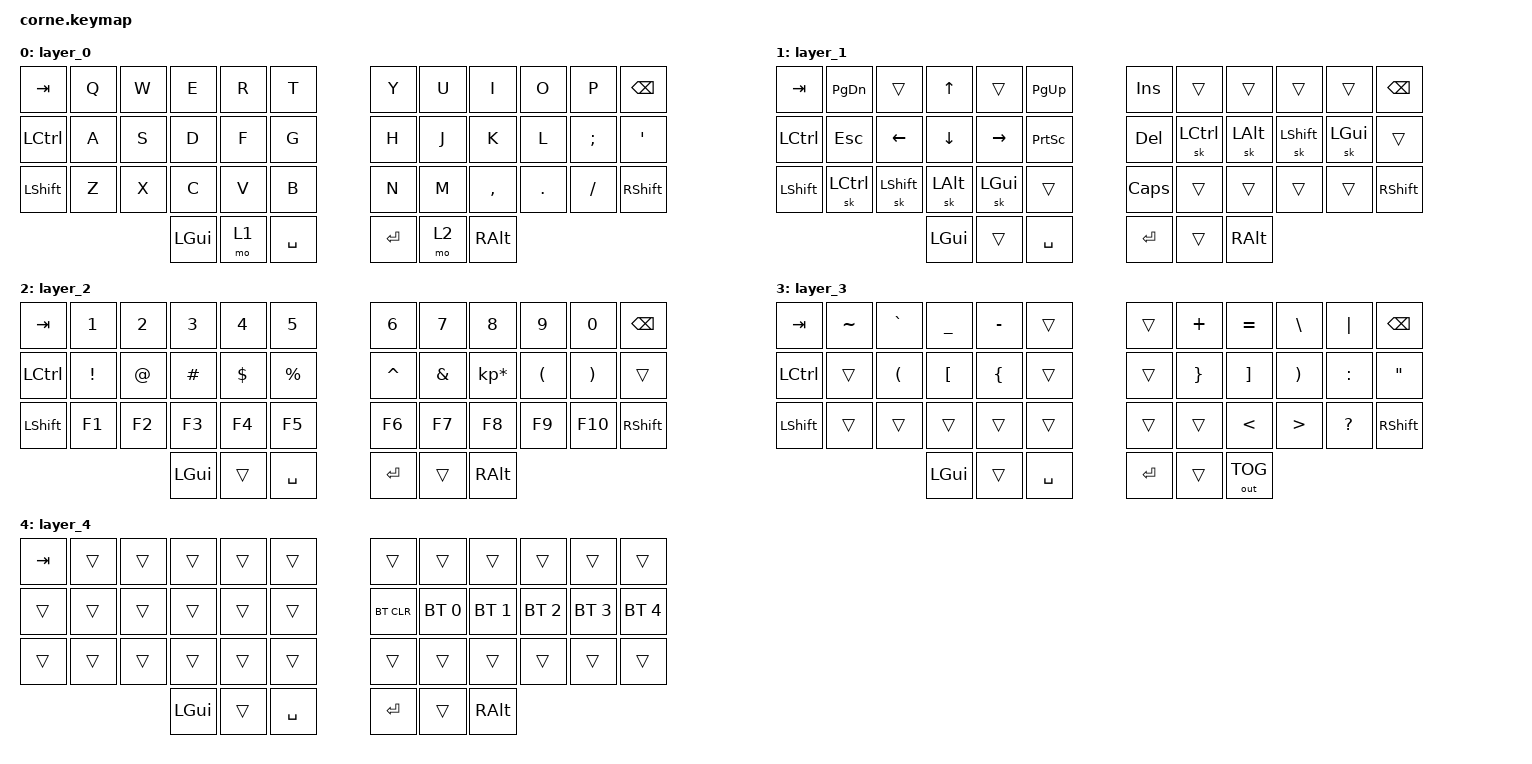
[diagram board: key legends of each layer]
/*
 * Copyright (c) 2020 The ZMK Contributors
 *
 * SPDX-License-Identifier: MIT
 */

#include <behaviors.dtsi>
#include <dt-bindings/zmk/keys.h>
#include <dt-bindings/zmk/bt.h>
#include <dt-bindings/zmk/outputs.h>

/ {

        keymap {
                compatible = "zmk,keymap";

                layer_0 {
// -----------------------------------------------------------------------------------------
// |  TAB |  Q  |  W  |  E  |  R  |  T  |   |  Y  |  U   |  I  |  O  |  P  | BKSP |
// | CTRL |  A  |  S  |  D  |  F  |  G  |   |  H  |  J   |  K  |  L  |  ;  |  '   |
// | SHFT |  Z  |  X  |  C  |  V  |  B  |   |  N  |  M   |  ,  |  .  |  /  | SHFT |
//                    | GUI | MO1 | SPC |   | ENT | MO2  | ALT |
                        bindings = <
   &kp TAB   &kp Q  &kp W  &kp E  &kp R  &kp T  &kp Y  &kp U  &kp I         &kp O        &kp P        &kp BSPC
   &kp LCTRL &kp A  &kp S  &kp D  &kp F  &kp G  &kp H  &kp J  &kp K         &kp L        &kp SEMI     &kp SQT
   &kp LSHFT &kp Z  &kp X  &kp C  &kp V  &kp B  &kp N  &kp M  &kp COMMA     &kp DOT      &kp FSLH     &kp RSHFT 
                  &kp LGUI &mo 1 &kp SPACE   &kp RET &mo 2 &kp RALT
                        >;
                };

                layer_1 {
// -----------------------------------------------------------------------------------------
// |  TAB | PGDN |     |  UP |     | PGUP |   | INS |     |     |     |     | BKSP |
// | CTRL |  ESC | LFT | DWN | RGT | SCRN |   | DEL | skC | skA | skS | skG |      |
// | SHFT |  skC | skA | skS | skG |      |   |     |     |     |     |     |      |
//                     | GUI |     | SPC  |   | ENT |     | ALT |
                        bindings = <
   &kp TAB    &kp PG_DN    &trans       &kp UP       &trans       &kp PG_UP   &kp INS     &trans     &trans   &trans     &trans     &kp BSPC
   &kp LCTRL  &kp ESC      &kp LEFT     &kp DOWN     &kp RIGHT    &kp PSCRN   &kp DEL     &sk LCTRL  &sk LALT &sk LSHIFT &sk LGUI   &trans
   &kp LSHFT  &sk LCTRL    &sk LSHIFT   &sk LALT     &sk LGUI     &trans      &kp CLCK    &trans     &trans   &trans     &trans     &kp RSHFT
                          	        &kp LGUI     &trans       &kp SPACE      &kp RET  &trans   &kp RALT
                        >;
                };

                layer_2 {
// -----------------------------------------------------------------------------------------
// |  TAB |  1  |  2  |  3  |  4  |  5  |   |  6  |  7  |  8  |  9  |  0  | BKSP |
// | CTRL |  !  |  @  |  #  |  $  |  %  |   |  ^  |  &  |  *  |  (  |  )  |      |
// | SHFT | F1  | F2  | F3  | F4  | F5  |   | F6  | F7  | F8  | F9  | F10 | SHFT |
//                    | GUI |     | SPC |   | ENT |     | ALT |
                        bindings = <
   &kp TAB    &kp N1    &kp N2    &kp N3    &kp N4    &kp N5      &kp N6       &kp N7       &kp N8          &kp N9     &kp N0      &kp BSPC
   &kp LCTRL  &kp EXCL  &kp AT    &kp HASH   &kp DLLR &kp PRCNT   &kp CARET    &kp AMPS     &kp KP_ASTERISK &kp LPAR   &kp RPAR    &trans
   &kp LSHFT  &kp F1    &kp F2    &kp F3    &kp F4    &kp F5      &kp F6       &kp F7       &kp F8          &kp F9     &kp F10     &kp RSHFT
                          	        &kp LGUI     &trans       &kp SPACE      &kp RET  &trans   &kp RALT
                        >;
                };

                layer_3 {
// -----------------------------------------------------------------------------------------
// |  TAB |  ~  |  `  |  _  |  -  |     |   |     |  +  |  =  |  \   |  |  | BKSP |
// | CTRL |     |  (  |  [  |  {  |     |   |     |  }  |  ]  |  )   |  :  |   "  |
// | SHFT |     |     |     |     |     |   |     |     |  <  |  >   |  ?  | SHFT |
//                    | GUI |     | SPC |   | ENT |     | OUT |
                        bindings = <
   &kp TAB   &kp TILDE    &kp GRAVE &kp UNDER  &kp MINUS   &trans      &trans     &kp PLUS   &kp EQUAL  &kp BSLH   &kp PIPE   &kp BSPC
   &kp LCTRL &trans       &kp LPAR  &kp LBKT   &kp LBRC    &trans      &trans     &kp RBRC   &kp RBKT   &kp RPAR   &kp COLON  &kp DQT  
   &kp LSHFT &trans       &trans    &trans     &trans      &trans      &trans     &trans     &kp LT     &kp GT     &kp QMARK  &kp RSHFT  
                           &kp LGUI &trans   &kp SPACE   &kp RET   &trans    &out OUT_TOG
                        >;
                };

               layer_4 {
// -----------------------------------------------------------------------------------------
// |      |     |     |     |     |     |   |     |      |      |      |      |      |
// |      |     |     |     |     |     |   |BTCLR| BT 0 | BT 1 | BT 2 | BT 3 | BT 4 |
// |      |     |     |     |     |     |   |     |      |      |      |      |      |
//                    | GUI |     | SPC |   | ENT |     | ALT |
                        bindings = <
   &kp TAB    &trans       &trans    &trans    &trans    &trans      &trans       &trans       &trans          &trans          &trans         &trans
   &trans     &trans       &trans    &trans    &trans    &trans      &bt BT_CLR   &bt BT_SEL 0 &bt BT_SEL 1    &bt BT_SEL 2    &bt BT_SEL 3   &bt BT_SEL 4
   &trans     &trans       &trans    &trans    &trans    &trans      &trans       &trans       &trans          &trans          &trans         &trans
                                   &kp LGUI     &trans       &kp SPACE      &kp RET  &trans   &kp RALT
                        >;
                };


        };				

	    conditional_layers {
	        
	        compatible = "zmk,conditional-layers";
	        
	        tri_layer {

	            if-layers = <1 2>;

	            then-layer = <3>;

	        };

	    };

       combos {

        compatible = "zmk,combos";
        
        combo_layer4 {
        
            timeout-ms = <150>;
        
            key-positions = <36 41>;
        
            bindings = <&mo 4>;
        
        };
    };

};
